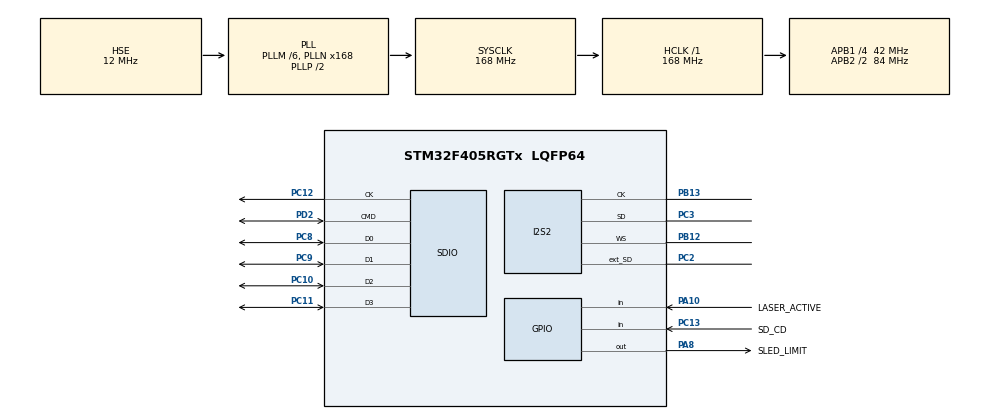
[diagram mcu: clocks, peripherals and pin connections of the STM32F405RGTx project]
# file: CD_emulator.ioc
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Dma.Request0=SPI2_TX
Dma.SPI2_TX.0.Direction=DMA_MEMORY_TO_PERIPH
Dma.SPI2_TX.0.FIFOMode=DMA_FIFOMODE_ENABLE
Dma.SPI2_TX.0.FIFOThreshold=DMA_FIFO_THRESHOLD_HALFFULL
Dma.SPI2_TX.0.Instance=DMA1_Stream4
Dma.SPI2_TX.0.MemBurst=DMA_MBURST_SINGLE
Dma.SPI2_TX.0.MemDataAlignment=DMA_MDATAALIGN_HALFWORD
Dma.SPI2_TX.0.MemInc=DMA_MINC_ENABLE
Dma.SPI2_TX.0.Mode=DMA_CIRCULAR
Dma.SPI2_TX.0.PeriphBurst=DMA_PBURST_SINGLE
Dma.SPI2_TX.0.PeriphDataAlignment=DMA_PDATAALIGN_HALFWORD
Dma.SPI2_TX.0.PeriphInc=DMA_PINC_DISABLE
Dma.SPI2_TX.0.Priority=DMA_PRIORITY_LOW
FATFS.BSP.number=1
FATFS.USE_DMA_CODE_SD=0
FATFS._CODE_PAGE=852
FATFS._LFN_UNICODE=0
FATFS._USE_LFN=0
FATFS0.BSP.STBoard=false
FATFS0.BSP.api=Unknown
FATFS0.BSP.i2caddr=0
FATFS0.BSP.instance=PC13-ANTI_TAMP
FATFS0.BSP.ip=GPIO
FATFS0.BSP.mode=Input
FATFS0.BSP.name=Detect_SDIO
FATFS0.BSP.solution=PC13-ANTI_TAMP
I2S2.AudioFreq=AudioFreqCustomValue
I2S2.AudioFreqCustom=135056
I2S2.ErrorAudioFreq=0.3 %
I2S2.FullDuplexMode=I2S_FULLDUPLEXMODE_ENABLE
I2S2.Instance=SPI$Index
I2S2.RealAudioFreq=135.416 KHz
I2S2.Standard=I2S_STANDARD_MSB
I2S2.VirtualMode=I2S_MODE_MASTER
Mcu.Family=STM32F4
Mcu.Name=STM32F405RGTx
Mcu.Package=LQFP64
NVIC.DMA1_Stream4_IRQn=true\:0\:0\:false\:false\:true\:false\:true
NVIC.PriorityGroup=NVIC_PRIORITYGROUP_4
PA10.GPIO_Label=LASER_ACTIVE
PA10.Signal=GPIO_Input
PA13.Mode=Serial_Wire
PA13.Signal=SYS_JTMS-SWDIO
PA14.Mode=Serial_Wire
PA14.Signal=SYS_JTCK-SWCLK
PA15.Signal=I2S3_WS
PA8.GPIO_Label=SLED_LIMIT
PA8.GPIO_ModeDefaultOutputPP=GPIO_MODE_OUTPUT_OD
PA8.GPIO_PuPd=GPIO_NOPULL
PA8.Signal=GPIO_Output
PB12.GPIO_Speed=GPIO_SPEED_FREQ_VERY_HIGH
PB12.Mode=Full_Duplex_Master
PB12.Signal=I2S2_WS
PB13.GPIO_Speed=GPIO_SPEED_FREQ_VERY_HIGH
PB13.Mode=Full_Duplex_Master
PB13.Signal=I2S2_CK
PB8.Signal=I2C1_SCL
PB9.Signal=I2C1_SDA
PC10.GPIO_PuPd=GPIO_PULLUP
PC10.Mode=SD_4_bits_Wide_bus
PC10.Signal=SDIO_D2
PC11.GPIO_PuPd=GPIO_PULLUP
PC11.Mode=SD_4_bits_Wide_bus
PC11.Signal=SDIO_D3
PC12.GPIO_PuPd=GPIO_PULLUP
PC12.Mode=SD_4_bits_Wide_bus
PC12.Signal=SDIO_CK
PC13-ANTI_TAMP.GPIO_Label=SD_CD
PC13-ANTI_TAMP.Signal=GPIO_Input
PC2.GPIO_PuPd=GPIO_PULLUP
PC2.GPIO_Speed=GPIO_SPEED_FREQ_VERY_HIGH
PC2.Mode=Full_Duplex_Master
PC2.Signal=I2S2_ext_SD
PC3.GPIO_Speed=GPIO_SPEED_FREQ_VERY_HIGH
PC3.Mode=Full_Duplex_Master
PC3.Signal=I2S2_SD
PC8.GPIO_PuPd=GPIO_PULLUP
PC8.Mode=SD_4_bits_Wide_bus
PC8.Signal=SDIO_D0
PC9.GPIO_PuPd=GPIO_PULLUP
PC9.Mode=SD_4_bits_Wide_bus
PC9.Signal=SDIO_D1
PD2.GPIO_PuPd=GPIO_PULLUP
PD2.Mode=SD_4_bits_Wide_bus
PD2.Signal=SDIO_CMD
PH0-OSC_IN.Mode=HSE-External-Oscillator
PH0-OSC_IN.Signal=RCC_OSC_IN
PH1-OSC_OUT.Mode=HSE-External-Oscillator
PH1-OSC_OUT.Signal=RCC_OSC_OUT
ProjectManager.HeapSize=0x200
ProjectManager.StackSize=0x600
ProjectManager.TargetToolchain=EWARM V7
RCC.48MHZClocksFreq_Value=48000000
RCC.AHBFreq_Value=168000000
RCC.APB1CLKDivider=RCC_HCLK_DIV4
RCC.APB1Freq_Value=42000000
RCC.APB1TimFreq_Value=84000000
RCC.APB2CLKDivider=RCC_HCLK_DIV2
RCC.APB2Freq_Value=84000000
RCC.APB2TimFreq_Value=168000000
RCC.CortexFreq_Value=168000000
RCC.HCLKFreq_Value=168000000
RCC.HSE_VALUE=12000000
RCC.HSI_VALUE=16000000
RCC.LSE_VALUE=32768
RCC.PLLI2SN=169
RCC.PLLM=6
RCC.PLLN=168
RCC.PLLQ=7
RCC.PLLSourceVirtual=RCC_PLLSOURCE_HSE
RCC.SYSCLKFreq_VALUE=168000000
RCC.SYSCLKSource=RCC_SYSCLKSOURCE_PLLCLK
RCC.VCOOutputFreq_Value=336000000
SDIO.ClockDiv=0
VP_FATFS_VS_SDIO.Mode=SDIO
board=CD_emulator

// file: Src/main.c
/* USER CODE BEGIN Header */
/**
  ******************************************************************************
  * @file           : main.c
  * @brief          : Main program body
  ******************************************************************************
  * @attention
  *
  * <h2><center>&copy; Copyright (c) 2021 STMicroelectronics.
  * All rights reserved.</center></h2>
  *
  * This software component is licensed by ST under Ultimate Liberty license
  * SLA0044, the "License"; You may not use this file except in compliance with
  * the License. You may obtain a copy of the License at:
  *                             www.st.com/SLA0044
  *
  ******************************************************************************
  */
/* USER CODE END Header */
#include "main.h"
#include "fatfs.h"

/* USER CODE BEGIN Includes */
#include "types.h"
#include "binconvert.h"
/* USER CODE END Includes */

I2S_HandleTypeDef hi2s2;
DMA_HandleTypeDef hdma_spi2_tx;

SD_HandleTypeDef hsd;

/* USER CODE BEGIN PV */
/* Private variables ---------------------------------------------------------*/

/* USER CODE END PV */

void SystemClock_Config(void);
static void MX_GPIO_Init(void);
static void MX_DMA_Init(void);
static void MX_SDIO_SD_Init(void);
static void MX_I2S2_Init(void);
/* USER CODE BEGIN PFP */
/* Private function prototypes -----------------------------------------------*/

/* USER CODE END PFP */

/* USER CODE BEGIN 0 */
FATFS SDCard;
FIL CDFile;

#pragma data_alignment = 4
U8  au8PitsnLands[ 10*7203 ];  // CD drive data
U32 u32CDPickup;

// TX completed callback
void HAL_I2S_TxCpltCallback(I2S_HandleTypeDef *hi2s)
{
  U16 u16ReadBytes;
  f_read( &CDFile, au8PitsnLands, sizeof( au8PitsnLands )/2, (void *)&u16ReadBytes );
  if( 0 == u16ReadBytes )
  {
    f_rewind( &CDFile );
    f_read( &CDFile, au8PitsnLands, sizeof( au8PitsnLands )/2, (void *)&u16ReadBytes );
    u32CDPickup = 0;
  }
  u32CDPickup += u16ReadBytes;
  if( u32CDPickup > 3*75*7203 )
  {
    //HAL_GPIO_WritePin( SLED_LIMIT_GPIO_Port, SLED_LIMIT_Pin, GPIO_PIN_SET );
  }
  else
  {
    HAL_GPIO_WritePin( SLED_LIMIT_GPIO_Port, SLED_LIMIT_Pin, GPIO_PIN_RESET );
  }
}

// TX half-completed callback
void HAL_I2S_TxHalfCpltCallback(I2S_HandleTypeDef *hi2s)
{
  U16 u16ReadBytes;
  f_read( &CDFile, &au8PitsnLands[sizeof( au8PitsnLands )/2], sizeof( au8PitsnLands )/2, (void *)&u16ReadBytes );
  if( 0 == u16ReadBytes )
  {
    f_rewind( &CDFile );
    f_read( &CDFile, au8PitsnLands, sizeof( au8PitsnLands )/2, (void *)&u16ReadBytes );
    u32CDPickup = 0;
  }
  u32CDPickup += u16ReadBytes;
  if( u32CDPickup > 3*75*7203 )
  {
    //HAL_GPIO_WritePin( SLED_LIMIT_GPIO_Port, SLED_LIMIT_Pin, GPIO_PIN_SET );
  }
  else
  {
    HAL_GPIO_WritePin( SLED_LIMIT_GPIO_Port, SLED_LIMIT_Pin, GPIO_PIN_RESET );
  }
}

/* USER CODE END 0 */

int main(void)
{
  /* USER CODE BEGIN 1 */
  U8  u8Start = 0u;
  U16 u16ReadBytes;
  /* USER CODE END 1 */

  /* MCU Configuration--------------------------------------------------------*/

  /* Reset of all peripherals, Initializes the Flash interface and the Systick. */
  HAL_Init();

  /* Configure the system clock */
  SystemClock_Config();

  /* Initialize all configured peripherals */
  MX_GPIO_Init();
  MX_DMA_Init();
  MX_SDIO_SD_Init();
  MX_FATFS_Init();
  MX_I2S2_Init();
  /* USER CODE BEGIN 2 */
  FRESULT res;

//  disk_initialize( 0 );  // Initialize SD card
  u16ReadBytes = BSP_SD_Init();

  res = f_mount( &SDCard, (void *)"", 1 );  // Mount SD card immediately

  if( res != FR_OK )
  {
    return -1;
  }

  res = f_open( &CDFile, (void *)"output.bin", FA_OPEN_ALWAYS | FA_READ );
  if( res != FR_OK )
  {
      return -1;
  }

  res = f_read( &CDFile, au8PitsnLands, sizeof( au8PitsnLands )/2, (void *)&u16ReadBytes );
  res = f_read( &CDFile, &au8PitsnLands[sizeof( au8PitsnLands )/2], sizeof( au8PitsnLands )/2, (void *)&u16ReadBytes );

  HAL_GPIO_WritePin( SLED_LIMIT_GPIO_Port, SLED_LIMIT_Pin, GPIO_PIN_RESET );

  HAL_I2S_Transmit_DMA( &hi2s2, (U16*)au8PitsnLands, sizeof( au8PitsnLands )/2 );  // start CD image stream

  /* USER CODE END 2 */

  /* Infinite loop */
  while (1)
  {

    /* USER CODE BEGIN 3 */
    if( u8Start == 0u )
    {
      if( GPIO_PIN_SET == HAL_GPIO_ReadPin( LASER_ACTIVE_GPIO_Port, LASER_ACTIVE_Pin ) )
      {
        f_rewind( &CDFile );
        f_read( &CDFile, au8PitsnLands, sizeof( au8PitsnLands )/2, (void *)&u16ReadBytes );
        u32CDPickup = 0;
        u8Start = 1u;
      }
    }
    else
    {
      if( GPIO_PIN_RESET == HAL_GPIO_ReadPin( LASER_ACTIVE_GPIO_Port, LASER_ACTIVE_Pin ) )
      {
        u8Start = 0u;
      }
    }
//    U32 u32Delay = HAL_GetTick() + 10;  // 10 ms
//    while( HAL_GetTick() < u32Delay );  // wait for timeout

    //res = f_lseek( &CDFile, u32CDSector*2352 );
    //res = f_read( &CDFile, au8Sector, 2352, (void *)&u16ReadBytes );

  }
  /* USER CODE END 3 */
}

void SystemClock_Config(void)
{
  RCC_OscInitTypeDef RCC_OscInitStruct = {0};
  RCC_ClkInitTypeDef RCC_ClkInitStruct = {0};
  RCC_PeriphCLKInitTypeDef PeriphClkInitStruct = {0};

  /** Configure the main internal regulator output voltage
  */
  __HAL_RCC_PWR_CLK_ENABLE();
  __HAL_PWR_VOLTAGESCALING_CONFIG(PWR_REGULATOR_VOLTAGE_SCALE1);
  /** Initializes the RCC Oscillators according to the specified parameters
  * in the RCC_OscInitTypeDef structure.
  */
  RCC_OscInitStruct.OscillatorType = RCC_OSCILLATORTYPE_HSE;
  RCC_OscInitStruct.HSEState = RCC_HSE_ON;
  RCC_OscInitStruct.PLL.PLLState = RCC_PLL_ON;
  RCC_OscInitStruct.PLL.PLLSource = RCC_PLLSOURCE_HSE;
  RCC_OscInitStruct.PLL.PLLM = 6;
  RCC_OscInitStruct.PLL.PLLN = 168;
  RCC_OscInitStruct.PLL.PLLP = RCC_PLLP_DIV2;
  RCC_OscInitStruct.PLL.PLLQ = 7;
  if (HAL_RCC_OscConfig(&RCC_OscInitStruct) != HAL_OK)
  {
    Error_Handler();
  }
  /** Initializes the CPU, AHB and APB buses clocks
  */
  RCC_ClkInitStruct.ClockType = RCC_CLOCKTYPE_HCLK|RCC_CLOCKTYPE_SYSCLK
                              |RCC_CLOCKTYPE_PCLK1|RCC_CLOCKTYPE_PCLK2;
  RCC_ClkInitStruct.SYSCLKSource = RCC_SYSCLKSOURCE_PLLCLK;
  RCC_ClkInitStruct.AHBCLKDivider = RCC_SYSCLK_DIV1;
  RCC_ClkInitStruct.APB1CLKDivider = RCC_HCLK_DIV4;
  RCC_ClkInitStruct.APB2CLKDivider = RCC_HCLK_DIV2;

  if (HAL_RCC_ClockConfig(&RCC_ClkInitStruct, FLASH_LATENCY_5) != HAL_OK)
  {
    Error_Handler();
  }
  PeriphClkInitStruct.PeriphClockSelection = RCC_PERIPHCLK_I2S;
  PeriphClkInitStruct.PLLI2S.PLLI2SN = 169;
  PeriphClkInitStruct.PLLI2S.PLLI2SR = 2;
  if (HAL_RCCEx_PeriphCLKConfig(&PeriphClkInitStruct) != HAL_OK)
  {
    Error_Handler();
  }
}

static void MX_I2S2_Init(void)
{

  hi2s2.Instance = SPI2;
  hi2s2.Init.Mode = I2S_MODE_MASTER_TX;
  hi2s2.Init.Standard = I2S_STANDARD_MSB;
  hi2s2.Init.DataFormat = I2S_DATAFORMAT_16B;
  hi2s2.Init.MCLKOutput = I2S_MCLKOUTPUT_DISABLE;
  hi2s2.Init.AudioFreq = 135056;
  hi2s2.Init.CPOL = I2S_CPOL_LOW;
  hi2s2.Init.ClockSource = I2S_CLOCK_PLL;
  hi2s2.Init.FullDuplexMode = I2S_FULLDUPLEXMODE_ENABLE;
  if (HAL_I2S_Init(&hi2s2) != HAL_OK)
  {
    Error_Handler();
  }

}

static void MX_SDIO_SD_Init(void)
{

  hsd.Instance = SDIO;
  hsd.Init.ClockEdge = SDIO_CLOCK_EDGE_RISING;
  hsd.Init.ClockBypass = SDIO_CLOCK_BYPASS_DISABLE;
  hsd.Init.ClockPowerSave = SDIO_CLOCK_POWER_SAVE_DISABLE;
  hsd.Init.BusWide = SDIO_BUS_WIDE_1B;
  hsd.Init.HardwareFlowControl = SDIO_HARDWARE_FLOW_CONTROL_DISABLE;
  hsd.Init.ClockDiv = 0;

}

static void MX_DMA_Init(void)
{

  /* DMA controller clock enable */
  __HAL_RCC_DMA1_CLK_ENABLE();

  /* DMA interrupt init */
  /* DMA1_Stream4_IRQn interrupt configuration */
  HAL_NVIC_SetPriority(DMA1_Stream4_IRQn, 0, 0);
  HAL_NVIC_EnableIRQ(DMA1_Stream4_IRQn);

}

static void MX_GPIO_Init(void)
{
  GPIO_InitTypeDef GPIO_InitStruct = {0};

  /* GPIO Ports Clock Enable */
  __HAL_RCC_GPIOC_CLK_ENABLE();
  __HAL_RCC_GPIOH_CLK_ENABLE();
  __HAL_RCC_GPIOB_CLK_ENABLE();
  __HAL_RCC_GPIOA_CLK_ENABLE();
  __HAL_RCC_GPIOD_CLK_ENABLE();

  /*Configure GPIO pin Output Level */
  HAL_GPIO_WritePin(SLED_LIMIT_GPIO_Port, SLED_LIMIT_Pin, GPIO_PIN_RESET);

  /*Configure GPIO pin : SD_CD_Pin */
  GPIO_InitStruct.Pin = SD_CD_Pin;
  GPIO_InitStruct.Mode = GPIO_MODE_INPUT;
  GPIO_InitStruct.Pull = GPIO_NOPULL;
  HAL_GPIO_Init(SD_CD_GPIO_Port, &GPIO_InitStruct);

  /*Configure GPIO pin : SLED_LIMIT_Pin */
  GPIO_InitStruct.Pin = SLED_LIMIT_Pin;
  GPIO_InitStruct.Mode = GPIO_MODE_OUTPUT_OD;
  GPIO_InitStruct.Pull = GPIO_NOPULL;
  GPIO_InitStruct.Speed = GPIO_SPEED_FREQ_LOW;
  HAL_GPIO_Init(SLED_LIMIT_GPIO_Port, &GPIO_InitStruct);

  /*Configure GPIO pin : LASER_ACTIVE_Pin */
  GPIO_InitStruct.Pin = LASER_ACTIVE_Pin;
  GPIO_InitStruct.Mode = GPIO_MODE_INPUT;
  GPIO_InitStruct.Pull = GPIO_NOPULL;
  HAL_GPIO_Init(LASER_ACTIVE_GPIO_Port, &GPIO_InitStruct);

  /*Configure GPIO pin : PA15 */
  GPIO_InitStruct.Pin = GPIO_PIN_15;
  GPIO_InitStruct.Mode = GPIO_MODE_AF_PP;
  GPIO_InitStruct.Pull = GPIO_NOPULL;
  GPIO_InitStruct.Speed = GPIO_SPEED_FREQ_LOW;
  GPIO_InitStruct.Alternate = GPIO_AF6_SPI3;
  HAL_GPIO_Init(GPIOA, &GPIO_InitStruct);

  /*Configure GPIO pins : PB8 PB9 */
  GPIO_InitStruct.Pin = GPIO_PIN_8|GPIO_PIN_9;
  GPIO_InitStruct.Mode = GPIO_MODE_AF_OD;
  GPIO_InitStruct.Pull = GPIO_PULLUP;
  GPIO_InitStruct.Speed = GPIO_SPEED_FREQ_VERY_HIGH;
  GPIO_InitStruct.Alternate = GPIO_AF4_I2C1;
  HAL_GPIO_Init(GPIOB, &GPIO_InitStruct);

}

void Error_Handler(void)
{
  while(1)
  {
  }
}

/************************ (C) COPYRIGHT STMicroelectronics *****END OF FILE****/
